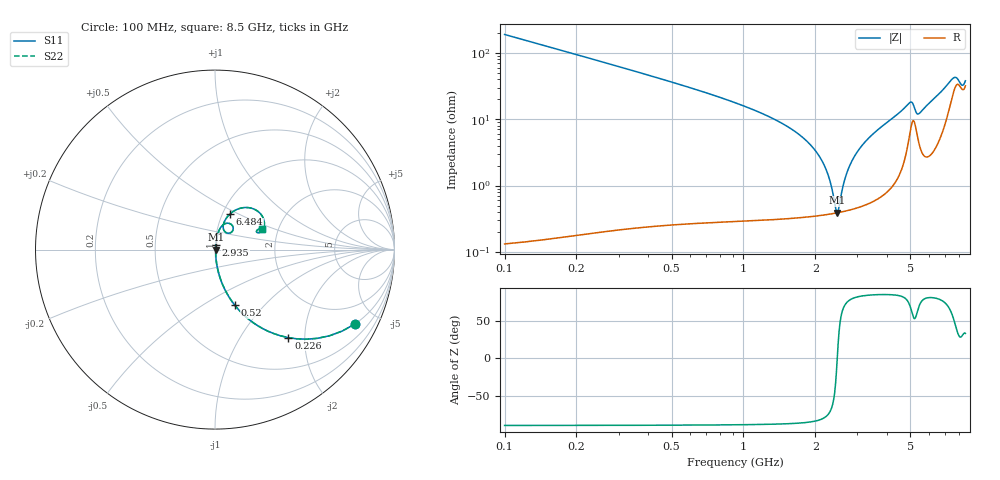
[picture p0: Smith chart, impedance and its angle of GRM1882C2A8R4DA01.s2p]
!Murata Part Number: GRM1882C2A8R4DA01
!These Parameters are Measured in Series Mode Connection
!Data Generated on Mar 30, 2021
!  o--ll--o
!Port1  Port2
!  o------o
!Operation Temp=25[degC], DC Bias Voltage=0[V]
!Freq. Start=100[MHz] Stop=9[GHz] 401[Steps]
# Hz S RI R 50
!Freq.(Hz) S11(Real) S11(Imag) S21(Real) S21(Imag) S12(Real) S12(Imag) S22(Real) S22(Imag)
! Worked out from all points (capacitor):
!   401 points, 100 MHz to 8.5 GHz, reference 50 ohm
!   read as one part in series: C = 8.41 pF near 142 MHz
!   lowest |Z| = 389 mohm at 2.473 GHz (marker M1)
!   series resonance near 2.471 GHz, so ESL is about 490 pH
!   S11 on the Smith chart (normalised r, x): 100 MHz: 1.00, -3.78; 226 MHz: 1.00, -1.66; 520 MHz: 1.01, -0.70; 2.935 GHz: 1.01, +0.06; 6.484 GHz: 1.08, +0.45; 8.5 GHz: 1.64, +0.41
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1e8  0.7813 -0.413  0.2187 0.413  0.2187 0.413  0.7813 -0.413
2.26e8  0.4085 -0.4904  0.5915 0.4904  0.5915 0.4904  0.4085 -0.4904
3.52e8  0.2183 -0.411  0.7817 0.411  0.7817 0.411  0.2183 -0.411
5.2e8  0.1099 -0.3091  0.8901 0.3091  0.8901 0.3091  0.1099 -0.3091
1.507e9  0.00944 -0.079  0.9906 0.079  0.9906 0.079  0.00944 -0.079
2.116e9  0.00414 -0.0244  0.9959 0.0244  0.9959 0.0244  0.00414 -0.0244
2.263e9  0.00386 -0.0139  0.9961 0.0139  0.9961 0.0139  0.00386 -0.0139
2.431e9  0.00384 -0.00259  0.9962 0.00259  0.9962 0.00259  0.00384 -0.00259
2.473e9  0.00387 0.000124  0.9961 -0.000124  0.9961 -0.000124  0.00387 0.000124
2.683e9  0.0043 0.0132  0.9957 -0.0132  0.9957 -0.0132  0.0043 0.0132
2.914e9  0.00517 0.0268  0.9948 -0.0268  0.9948 -0.0268  0.00517 0.0268
2.935e9  0.00527 0.028  0.9947 -0.028  0.9947 -0.028  0.00527 0.028
3.439e9  0.00873 0.0561  0.9913 -0.0561  0.9913 -0.0561  0.00873 0.0561
4.3e9  0.0222 0.1059  0.9778 -0.1059  0.9778 -0.1059  0.0222 0.1059
4.993e9  0.0837 0.1443  0.9163 -0.1443  0.9163 -0.1443  0.0837 0.1443
5.35e9  0.0624 0.0944  0.9376 -0.0944  0.9376 -0.0944  0.0624 0.0944
5.707e9  0.0458 0.133  0.9542 -0.133  0.9542 -0.133  0.0458 0.133
6.484e9  0.0821 0.1972  0.9179 -0.1972  0.9179 -0.1972  0.0821 0.1972
7.114e9  0.1606 0.2339  0.8394 -0.2339  0.8394 -0.2339  0.1606 0.2339
7.723e9  0.2727 0.1641  0.7273 -0.1641  0.7273 -0.1641  0.2727 0.1641
8.206e9  0.2342 0.095  0.7658 -0.095  0.7658 -0.095  0.2342 0.095
8.5e9  0.2594 0.1158  0.7406 -0.1158  0.7406 -0.1158  0.2594 0.1158
